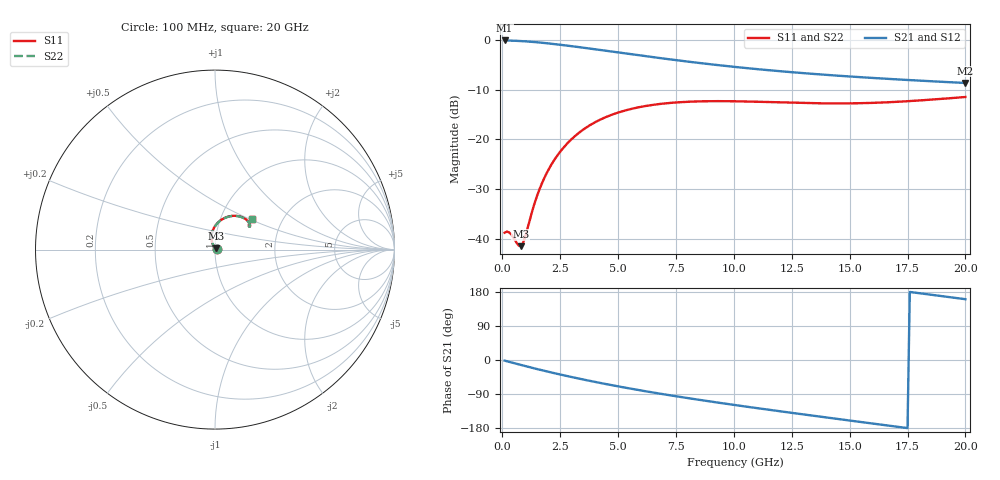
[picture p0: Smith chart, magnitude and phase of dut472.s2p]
! Touchstone file exported from HFSS 2024.1.0
!  File:  C:/UserFiles/LocalFiles/RDL_TSV_Batchsim/temp_RDL_TSV_472_1779730344.aedt
!  Generated:  01:49:20 AM May 26, 2026
!  Design:  RDL_TSV
!  Project:  temp_RDL_TSV_472_1779730344
!  Setup:  Setup1
!  Solution:  Sweep
! Variables:
!  dtsv = 6.59um
!  hbump = 3um
!  htsv = 99.78um
!  ldown = 641.67um
!  lrdl = 184.99um
!  p = 40
!  p1 = 45.92um
!  rhole = 10um
!  subl = 2664.97um
!  t = 450um
!  tdown = 4.73um
!  trdl = 4.52um
!  viad = 10um
!  wdown = 26.33um
!  wrdl = 14.72um
!  xbump = 18um
# GHz S MA R 50.000000
! Terminal data exported
! Port[1] = TM1_1_T1
! Port[2] = TM1_4_T1
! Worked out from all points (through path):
!   200 points, 100 MHz to 20 GHz, reference 50 ohm
!   highest |S21| = -0.10 dB at 100 MHz (marker M1); lowest = -8.7 dB at 20 GHz (marker M2)
!   group delay of S21, straight-line fit = 26.3 ps
!   lowest |S11| = -41.5 dB at 800 MHz (marker M3), VSWR 1.02, Z = 50.5 + j0.708 ohm
!   |S11| at or under -10 dB: start of sweep to end of sweep
!   |S22| runs from -41.5 to -11.5 dB; largest |S21 - S12| = 9.3e-15
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0.1  0.01153 6.3  0.9882 -1.7  0.9882 -1.7  0.01153 6.3
! Gamma 0 0 0 0
! Port Impedance 50 0 50 0
0.3  0.01161 11.8  0.9855 -5.0  0.9855 -5.0  0.01161 11.8
0.7  0.008585 40.9  0.9773 -11.4  0.9773 -11.4  0.008596 40.7
0.8  0.008439 56.2  0.9745 -13.0  0.9745 -13.0  0.008444 56.1
0.9  0.009115 72.5  0.9714 -14.6  0.9714 -14.6  0.009111 72.3
1  0.01069 86.4  0.968 -16.1  0.968 -16.1  0.01067 86.2
1.3  0.01929 107.4  0.9564 -20.8  0.9564 -20.8  0.01925 107.3
1.5  0.02698 111.5  0.9475 -23.8  0.9475 -23.8  0.02692 111.5
1.7  0.03563 112.4  0.9379 -26.8  0.9379 -26.8  0.03554 112.4
2  0.04979 110.9  0.9224 -31.2  0.9224 -31.2  0.04967 110.9
2.3  0.06486 107.8  0.9059 -35.5  0.9059 -35.5  0.06471 107.7
2.7  0.08552 102.6  0.883 -41.0  0.883 -41.0  0.08532 102.6
3.5  0.1257 91.4  0.8358 -51.5  0.8358 -51.5  0.1254 91.4
4.2  0.1568 82.0  0.7947 -60.2  0.7947 -60.2  0.1564 82.0
4.9  0.1828 73.6  0.7549 -68.4  0.7549 -68.4  0.1824 73.5
6.8  0.227 55.3  0.6577 -88.8  0.6577 -88.8  0.2264 55.3
8.4  0.2408 44.7  0.5907 -104.2  0.5907 -104.2  0.2401 44.7
10.1  0.2416 37.6  0.5338 -119.3  0.5338 -119.3  0.2407 37.5
11.7  0.2365 34.1  0.4916 -132.9  0.4916 -132.9  0.2355 34.1
13.4  0.2311 33.4  0.4561 -146.8  0.4561 -146.8  0.2301 33.5
16.7  0.2365 36.9  0.4055 -173.3  0.4055 -173.3  0.2356 37.1
20  0.2669 39.4  0.3692 160.5  0.3692 160.5  0.2662 39.6
